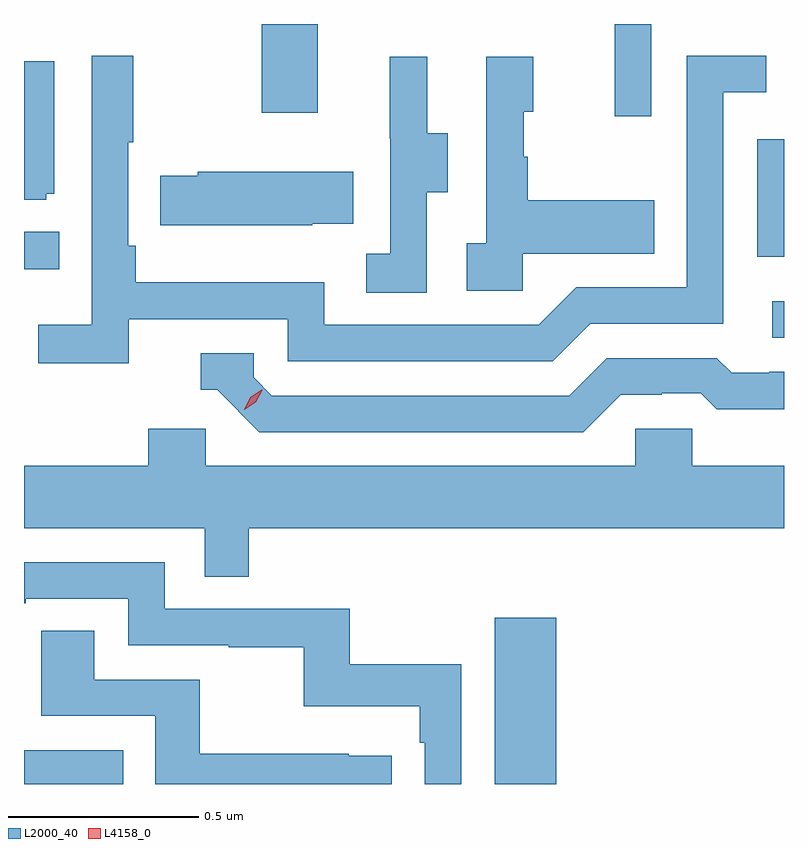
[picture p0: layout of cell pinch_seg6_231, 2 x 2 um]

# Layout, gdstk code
import gdstk
lib = gdstk.Library(unit=1e-6, precision=1e-09)
def R(c, l, rs):  # rectangles x0, y0, x1, y1
    for r in rs: c.add(gdstk.rectangle(r[:2], r[2:], *l))
def P(c, l, *ps):  # polygons
    for p in ps: c.add(gdstk.Polygon(p, *l))
L2000_40 = (2000, 40)
L4158_0 = (4158, 0)

pinch_seg6_231 = lib.new_cell('pinch_seg6_231')
R(pinch_seg6_231, L2000_40, [(1130.678,929.347,1130.939,929.436), (1131.917,929.347,1132.078,929.785), (1132.647,930.522,1132.678,930.618), (1130.678,930.701,1130.771,930.8), (1132.608,930.735,1132.678,931.044), (1132.232,931.104,1132.329,931.347), (1131.304,931.113,1131.451,931.347)])
P(pinch_seg6_231, L2000_40, [(1130.954,930.57),(1131.372,930.57),(1131.372,930.459),(1132.069,930.459),(1132.168,930.558),(1132.518,930.558),(1132.518,931.167),(1132.631,931.167),(1132.631,931.263),(1132.422,931.263),(1132.422,930.654),(1132.131,930.654),(1132.032,930.555),(1131.468,930.555),(1131.468,930.667),(1130.972,930.667),(1130.972,930.763),(1130.952,930.763),(1130.952,931.036),(1130.965,931.036),(1130.965,931.264),(1130.856,931.264),(1130.856,930.556),(1130.715,930.556),(1130.715,930.454),(1130.954,930.454)],
  [(1131.99,930.743),(1132.337,930.743),(1132.337,930.883),(1132.003,930.883),(1132.003,930.998),(1131.993,930.998),(1131.993,931.116),(1132.018,931.116),(1132.018,931.261),(1131.894,931.261),(1131.894,930.77),(1131.843,930.77),(1131.843,930.645),(1131.99,930.645)],
  [(1131.738,930.904),(1131.793,930.904),(1131.793,931.059),(1131.739,931.059),(1131.739,931.261),(1131.641,931.261),(1131.641,931.047),(1131.642,931.047),(1131.642,930.743),(1131.579,930.743),(1131.579,930.64),(1131.738,930.64)],
  [(1130.736,930.9),(1130.758,930.9),(1130.758,931.249),(1130.678,931.249),(1130.678,930.885),(1130.736,930.885)],
  [(1131.437,930.821),(1131.545,930.821),(1131.545,930.958),(1131.135,930.958),(1131.135,930.948),(1131.037,930.948),(1131.037,930.818),(1131.437,930.818)],
  [(1132.249,930.372),(1132.356,930.372),(1132.356,930.375),(1132.459,930.375),(1132.501,930.333),(1132.678,930.333),(1132.678,930.432),(1132.639,930.432),(1132.639,930.429),(1132.54,930.429),(1132.501,930.468),(1132.212,930.468),(1132.113,930.369),(1131.33,930.369),(1131.282,930.417),(1131.282,930.48),(1131.143,930.48),(1131.143,930.384),(1131.186,930.384),(1131.297,930.273),(1132.15,930.273)],
  [(1131.269,930.02),(1132.678,930.02),(1132.678,930.184),(1132.437,930.184),(1132.437,930.282),(1132.287,930.282),(1132.287,930.184),(1131.156,930.184),(1131.156,930.282),(1131.005,930.282),(1131.005,930.184),(1130.678,930.184),(1130.678,930.02),(1131.153,930.02),(1131.153,929.893),(1131.269,929.893)],
  [(1131.828,929.662),(1131.535,929.662),(1131.535,929.808),(1131.048,929.808),(1131.048,929.931),(1130.678,929.931),(1130.678,929.823),(1130.683,929.823),(1130.683,929.835),(1130.952,929.835),(1130.952,929.712),(1131.217,929.712),(1131.217,929.707),(1131.414,929.707),(1131.414,929.552),(1131.719,929.552),(1131.719,929.456),(1131.732,929.456),(1131.732,929.347),(1131.828,929.347)],
  [(1131.646,929.421),(1131.533,929.421),(1131.533,929.426),(1131.14,929.426),(1131.14,929.622),(1130.863,929.622),(1130.863,929.75),(1130.723,929.75),(1130.723,929.526),(1131.024,929.526),(1131.024,929.347),(1131.646,929.347)])
P(pinch_seg6_231, L4158_0, [(1131.258,930.332),(1131.258,930.332),(1131.274,930.365),(1131.304,930.384),(1131.305,930.384),(1131.305,930.383),(1131.288,930.351),(1131.258,930.332)])

lib.write_gds('pinch_seg6_231.gds')
